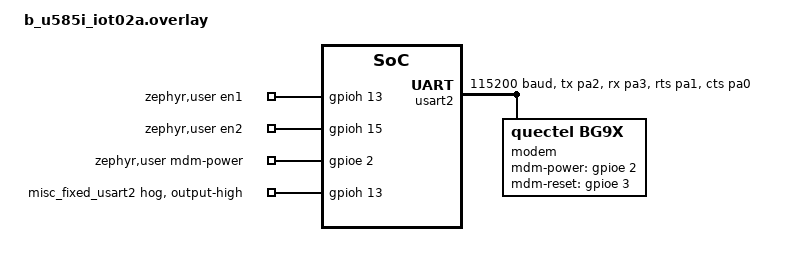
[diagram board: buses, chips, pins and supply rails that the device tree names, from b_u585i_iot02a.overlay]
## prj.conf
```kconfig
# Copyright (c) 2023 Trackunit Corporation
# SPDX-License-Identifier: Apache-2.0

CONFIG_ASSERT=y

# Modem modules
CONFIG_MODEM_CELLULAR=y
CONFIG_MODEM=y
CONFIG_MODEM_CELLULAR_APN="trackunit.m2m"

# Networking
CONFIG_NETWORKING=y
CONFIG_NET_L2_PPP=y
CONFIG_NET_IPV4=y
CONFIG_LOG=y
CONFIG_LOG_DEFAULT_LEVEL=3

# Network management
CONFIG_NET_MGMT=y
CONFIG_NET_MGMT_EVENT=y
CONFIG_NET_CONNECTION_MANAGER=y

# Board specific configs
CONFIG_GPIO=y
CONFIG_UART_STM32=y
CONFIG_UART_INTERRUPT_DRIVEN=n
CONFIG_UART_ASYNC_API=y

CONFIG_NO_OPTIMIZATIONS=n
```

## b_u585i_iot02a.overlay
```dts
/ {
	aliases {
		modem-uart = &usart2;
		modem = &modem;
	};

	zephyr,user {
		en1-gpios = <&gpioh 13 GPIO_ACTIVE_HIGH>;
		en2-gpios = <&gpioh 15 GPIO_ACTIVE_HIGH>;
		mdm-power-gpios = <&gpioe 2 GPIO_ACTIVE_HIGH>;
	};
};

&gpioh {
	misc_fixed_usart2 {
		gpio-hog;
		gpios = <13 GPIO_ACTIVE_HIGH>;
		output-high;
	};
};

/* BG95 */
&usart2 {
	pinctrl-0 = <&usart2_tx_pa2 &usart2_rx_pa3 &usart2_rts_pa1 &usart2_cts_pa0>;
	pinctrl-names = "default";
	current-speed = <115200>;
	status = "okay";
	hw-flow-control;

	modem: modem {
		compatible = "quectel,bg9x";
		mdm-power-gpios = <&gpioe 2 GPIO_ACTIVE_HIGH>;
		mdm-reset-gpios = <&gpioe 3 GPIO_ACTIVE_HIGH>;
		status = "okay";
	};
};
```

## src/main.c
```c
/*
 * Copyright (c) 2022 Trackunit Corporation
 *
 * SPDX-License-Identifier: Apache-2.0
 */

/*************************************************************************************************/
/*                                        Dependencies                                           */
/*************************************************************************************************/
#include <zephyr/kernel.h>
#include <zephyr/net/net_if.h>

#include <string.h>
#include <stdlib.h>

static struct net_mgmt_event_callback mgmt_cb;

static void net_mgmt_event_callback_handler(struct net_mgmt_event_callback *cb, uint32_t mgmt_event,
					    struct net_if *iface)
{
	if (mgmt_event == NET_EVENT_L4_CONNECTED) {
		printk("L4 Connected");
	}

	if (mgmt_event == NET_EVENT_L4_DISCONNECTED) {
		printk("L4 Disconnected");
	}
}

/*************************************************************************************************/
/*                                           Devices                                             */
/*************************************************************************************************/
const struct device *modem = DEVICE_DT_GET(DT_ALIAS(modem));

void main(void)
{
	net_mgmt_init_event_callback(&mgmt_cb, net_mgmt_event_callback_handler,
				     (NET_EVENT_L4_CONNECTED | NET_EVENT_L4_DISCONNECTED));

	net_mgmt_add_event_callback(&mgmt_cb);

	while(1) {
		k_msleep(1000);
	}
}
```
